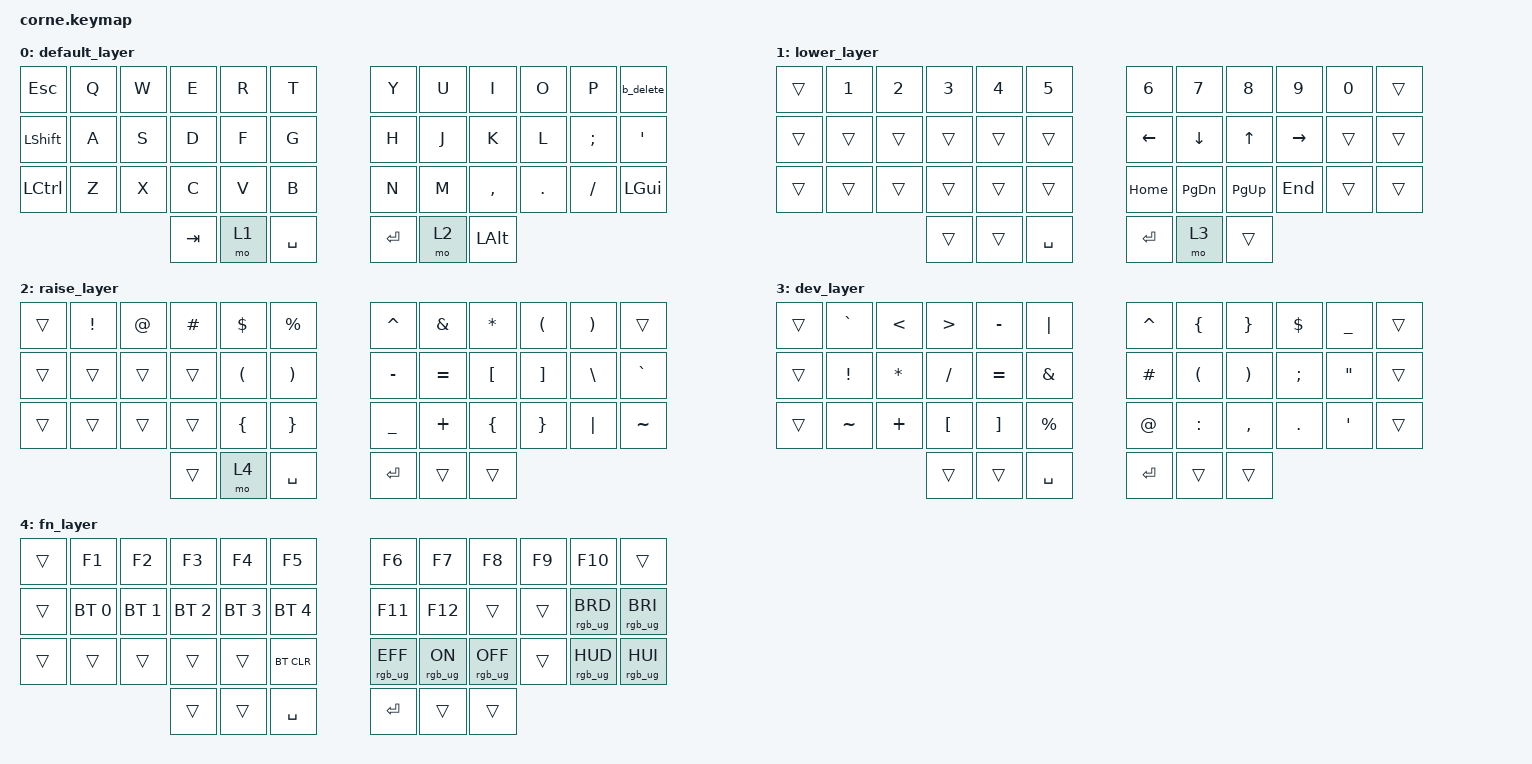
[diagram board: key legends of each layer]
/*
 * Copyright (c) 2020 The ZMK Contributors
 *
 * SPDX-License-Identifier: MIT
 */

#include <behaviors.dtsi>
#include <dt-bindings/zmk/bt.h>
#include <dt-bindings/zmk/keys.h>
#include <dt-bindings/zmk/rgb.h>

&led_strip {
    chain-length = <27>; // 21 backlight + 6 underglow
};

/ {
    behaviors {
        b_delete: b_delete {
            compatible = "zmk,behavior-mod-morph";
            label = "B_DELETE";
            bindings = <&kp BACKSPACE>, <&kp DELETE>;

            #binding-cells = <0>;
            mods = <(MOD_LSFT|MOD_RALT|MOD_LALT|MOD_LGUI|MOD_RGUI|MOD_RSFT)>;
        };
    };

    keymap {
        compatible = "zmk,keymap";

        default_layer {
            // -----------------------------------------------------------------------------------------
            // |  TAB |  Q  |  W  |  E  |  R  |  T  |   |  Y  |  U   |  I  |  O  |  P  | BSPC |
            // | CTRL |  A  |  S  |  D  |  F  |  G  |   |  H  |  J   |  K  |  L  |  ;  |  '   |
            // | SHFT |  Z  |  X  |  C  |  V  |  B  |   |  N  |  M   |  ,  |  .  |  /  | ESC  |
            //                    | GUI | LWR | SPC |   | ENT | RSE  | ALT |

            bindings = <
&kp ESCAPE        &kp Q  &kp W  &kp E    &kp R  &kp T        &kp Y    &kp U  &kp I         &kp O    &kp P     &b_delete
&kp LEFT_SHIFT    &kp A  &kp S  &kp D    &kp F  &kp G        &kp H    &kp J  &kp K         &kp L    &kp SEMI  &kp SQT
&kp LEFT_CONTROL  &kp Z  &kp X  &kp C    &kp V  &kp B        &kp N    &kp M  &kp COMMA     &kp DOT  &kp FSLH  &kp LEFT_GUI
                                &kp TAB  &mo 1  &kp SPACE    &kp RET  &mo 2  &kp LEFT_ALT
            >;
        };

        lower_layer {
            // -----------------------------------------------------------------------------------------
            // |  TAB |  1  |  2  |  3  |  4  |  5  |   |  6  |  7  |  8  |  9  |  0  | BSPC |
            // | BTCLR| BT1 | BT2 | BT3 | BT4 | BT5 |   | LFT | DWN |  UP | RGT |     |      |
            // | SHFT |     |     |     |     |     |   |     |     |     |     |     |      |
            //                    | GUI |     | SPC |   | ENT |     | ALT |

            bindings = <
&trans  &kp N1  &kp N2  &kp N3  &kp N4  &kp N5       &kp N6    &kp N7         &kp N8       &kp N9     &kp N0  &trans
&trans  &trans  &trans  &trans  &trans  &trans       &kp LEFT  &kp DOWN       &kp UP       &kp RIGHT  &trans  &trans
&trans  &trans  &trans  &trans  &trans  &trans       &kp HOME  &kp PAGE_DOWN  &kp PAGE_UP  &kp END    &trans  &trans
                        &trans  &trans  &kp SPACE    &kp RET   &mo 3          &trans
            >;
        };

        raise_layer {
            // -----------------------------------------------------------------------------------------
            // |  TAB |  !  |  @  |  #  |  $  |  %  |   |  ^  |  &  |  *  |  (  |  )  | BSPC |
            // | CTRL |     |     |     |     |     |   |  -  |  =  |  [  |  ]  |  \  |  `   |
            // | SHFT |     |     |     |     |     |   |  _  |  +  |  {  |  }  | "|" |  ~   |
            //                    | GUI |     | SPC |   | ENT |     | ALT |

            bindings = <
&trans  &kp EXCL  &kp AT  &kp HASH  &kp DLLR              &kp PRCNT                &kp CARET  &kp AMPS   &kp ASTRK  &kp LPAR  &kp RPAR  &trans
&trans  &trans    &trans  &trans    &kp LEFT_PARENTHESIS  &kp RIGHT_PARENTHESIS    &kp MINUS  &kp EQUAL  &kp LBKT   &kp RBKT  &kp BSLH  &kp GRAVE
&trans  &trans    &trans  &trans    &kp LEFT_BRACE        &kp RIGHT_BRACE          &kp UNDER  &kp PLUS   &kp LBRC   &kp RBRC  &kp PIPE  &kp TILDE
                          &trans    &mo 4                 &kp SPACE                &kp RET    &trans     &trans
            >;
        };

        dev_layer {
            bindings = <
&trans  &kp GRAVE        &kp LESS_THAN  &kp GREATER_THAN  &kp MINUS  &kp PIPE         &kp CARET    &kp LEFT_BRACE        &kp RIGHT_BRACE        &kp DOLLAR     &kp UNDERSCORE     &trans
&trans  &kp EXCLAMATION  &kp ASTERISK   &kp SLASH         &kp EQUAL  &kp AMPERSAND    &kp HASH     &kp LEFT_PARENTHESIS  &kp RIGHT_PARENTHESIS  &kp SEMICOLON  &kp DOUBLE_QUOTES  &trans
&trans  &kp TILDE        &kp PLUS       &kp LBKT          &kp RBKT   &kp PERCENT      &kp AT_SIGN  &kp COLON             &kp COMMA              &kp PERIOD     &kp SQT            &trans
                                        &trans            &trans     &kp SPACE        &kp ENTER    &trans                &trans
            >;
        };

        fn_layer {
            bindings = <
&trans  &kp F1        &kp F2        &kp F3        &kp F4        &kp F5          &kp F6           &kp F7          &kp F8           &kp F9  &kp F10          &trans
&trans  &bt BT_SEL 0  &bt BT_SEL 1  &bt BT_SEL 2  &bt BT_SEL 3  &bt BT_SEL 4    &kp F11          &kp F12         &trans           &trans  &rgb_ug RGB_BRD  &rgb_ug RGB_BRI
&trans  &trans        &trans        &trans        &trans        &bt BT_CLR      &rgb_ug RGB_EFF  &rgb_ug RGB_ON  &rgb_ug RGB_OFF  &trans  &rgb_ug RGB_HUD  &rgb_ug RGB_HUI
                                    &trans        &trans        &kp SPACE       &kp ENTER        &trans          &trans
            >;
        };
    };
};
